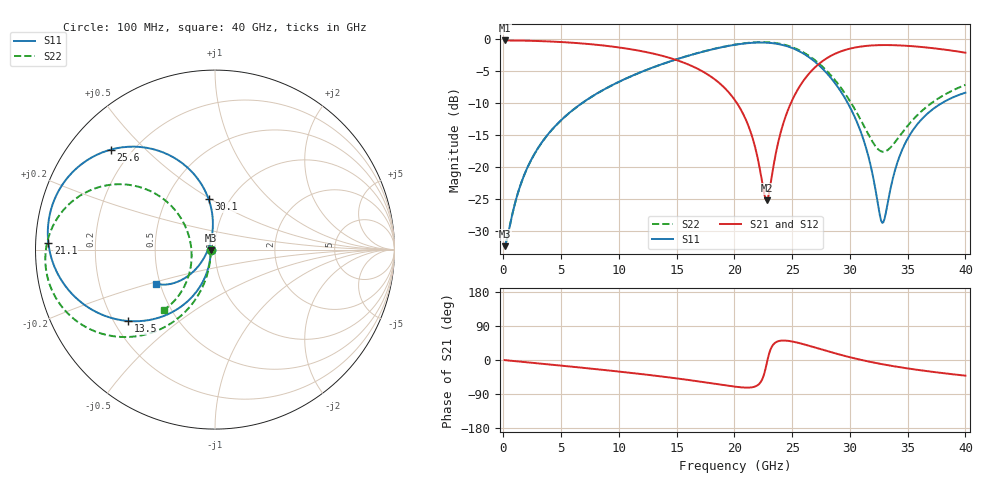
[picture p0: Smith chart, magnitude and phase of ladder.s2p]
! E_s8_L1L3_p1200_round_g2: via ladder as kisi uses it (kisi_si::via_pbm, graded grid, junction model), differential mode (per line 50 ohm)
# Hz S RI R 50
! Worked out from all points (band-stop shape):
!   400 points, 100 MHz to 40 GHz, reference 50 ohm
!   highest |S21| = -0.21 dB at 100 MHz (marker M1); lowest = -25.3 dB at 22.8 GHz (marker M2)
!   |S21| within 3 dB of the highest: start of sweep to 14.87 GHz; 27.81 GHz to end of sweep
!   lowest |S11| = -32.4 dB at 100 MHz (marker M3), VSWR 1.05, Z = 47.7 - j0.428 ohm
!   |S11| at or under -10 dB: start of sweep to 6.822 GHz; 29.81 GHz to 37.98 GHz (8.17 GHz wide, 24.1 % of centre)
!   |S22| runs from -32.4 to -0.5 dB; largest |S21 - S12| = 0
!   S11 on the Smith chart (normalised r, x): 100 MHz: 0.95, -0.01; 13.5 GHz: 0.26, -0.34; 21.1 GHz: 0.04, +0.02; 25.6 GHz: 0.13, +0.40; 30.1 GHz: 0.80, +0.49; 40 GHz: 0.47, -0.21
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1e8  -0.0235 -0.00448  0.9765 -0.00501  0.9765 -0.00501  -0.0235 -0.0045
1.3e9  -0.0279 -0.0581  0.9726 -0.065  0.9726 -0.065  -0.0269 -0.0584
2.5e9  -0.0399 -0.1109  0.9618 -0.1243  0.9618 -0.1243  -0.0363 -0.1119
6.8e9  -0.1442 -0.2803  0.8677 -0.3212  0.8677 -0.3212  -0.1187 -0.2914
1.34e10  -0.477 -0.3984  0.5571 -0.5083  0.5571 -0.5083  -0.3994 -0.4759
1.35e10  -0.4834 -0.398  0.5509 -0.5093  0.5509 -0.5093  -0.4051 -0.4771
1.7e10  -0.721 -0.3122  0.3138 -0.4811  0.3138 -0.4811  -0.6323 -0.4679
2.01e10  -0.9012 -0.0782  0.1089 -0.3083  0.1089 -0.3083  -0.8485 -0.3239
2.11e10  -0.9285 0.0369  0.0651 -0.212  0.0651 -0.212  -0.9036 -0.2369
2.28e10  -0.9004 0.2639  0.054 -0.00812  0.054 -0.00812  -0.9452 -0.0422
2.41e10  -0.7933 0.432  0.1248 0.1558  0.1248 0.1558  -0.9052 0.1267
2.56e10  -0.5816 0.5568  0.2982 0.2952  0.2982 0.2952  -0.7665 0.2908
2.67e10  -0.3996 0.5699  0.4624 0.3294  0.4624 0.3294  -0.6195 0.3549
2.85e10  -0.15 0.4542  0.7088 0.2508  0.7088 0.2508  -0.3765 0.3333
3.01e10  -0.0351 0.2799  0.8412 0.0966  0.8412 0.0966  -0.2249 0.223
3.15e10  -0.0119 0.13  0.8852 -0.0499  0.8852 -0.0499  -0.1549 0.104
3.27e10  -0.0307 0.0224  0.8832 -0.1641  0.8832 -0.1641  -0.1321 0.00604
3.3e10  -0.0391 -0.000828  0.8786 -0.1901  0.8786 -0.1901  -0.1305 -0.0168
3.34e10  -0.0521 -0.0295  0.8703 -0.223  0.8703 -0.223  -0.1304 -0.0461
3.43e10  -0.0866 -0.0843  0.8448 -0.2899  0.8448 -0.2899  -0.1372 -0.1066
3.56e10  -0.1438 -0.142  0.796 -0.3695  0.796 -0.3695  -0.1597 -0.1809
4e10  -0.33 -0.1895  0.5882 -0.5168  0.5882 -0.5168  -0.2835 -0.3346
